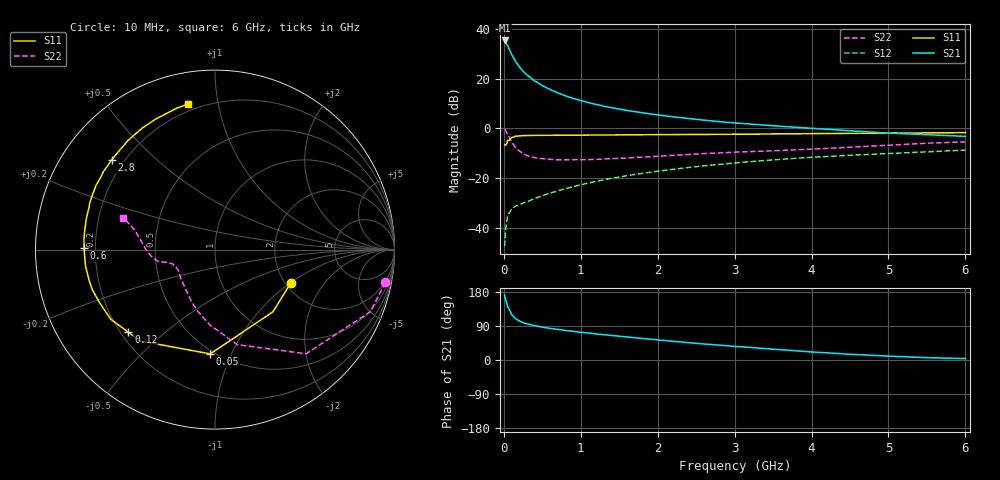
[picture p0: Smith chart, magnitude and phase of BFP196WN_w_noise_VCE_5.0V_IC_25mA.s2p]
! (c) 2017  Infineon Technologies AG, Munich
! Infineon Technologies  Discrete & RF Semiconductors
! BFP196WN
! VCE =  5.0 V,  IC =  25 mA
! Common Emitter S-Parameters:  Jan 2017
# GHz  S  MA  R  50
!  f  S11  S21  S12  S22
! GHz  MAG  ANG  MAG  ANG  MAG  ANG  MAG  ANG
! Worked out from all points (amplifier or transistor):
!   77 points, 10 MHz to 6 GHz, reference 50 ohm
!   highest |S21| = 35.2 dB at 10 MHz (marker M1)
!   |S21| within 3 dB of that: start of sweep to 63.5 MHz
!   unconditionally stable (mu >= 1): 830.2 MHz to 2.676 GHz
!   at 130 MHz: K = 0.37, MSG = 29.8 dB, |S12| = -31.6 dB
!   at 2.2 GHz: K = 1.03, MAG = 9.5 dB, |S12| = -16.4 dB
!   at 6 GHz: K = 0.89, MSG = 2.7 dB, |S12| = -8.6 dB
!   lowest NFmin = 1.00 dB at 450 MHz
!   S11 on the Smith chart (normalised r, x): 10 MHz: 2.15, -1.00; 50 MHz: 0.48, -0.84; 120 MHz: 0.23, -0.38; 600 MHz: 0.16, +0.01; 2.8 GHz: 0.15, +0.37; 6 GHz: 0.16, +0.82
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0.01  0.4618 -23.4  57.76 171.4  0.0044 84.1  0.9667 -10.9
0.02  0.4735 -47.0  54.57 161.6  0.0081 76.8  0.9324 -21.8
0.05  0.5816 -92.6  45.31 140.0  0.0178 57.4  0.7712 -48.8
0.1  0.6578 -129.3  30.48 119.8  0.0243 46.1  0.5445 -76.7
0.12  0.6669 -136.3  27.08 116.4  0.0257 44.4  0.4897 -82.6
0.15  0.6984 -146.2  22.24 109.4  0.0279 42.1  0.4201 -94.0
0.2  0.7085 -155.6  17.2 103.1  0.0293 42.6  0.3542 -106.3
0.25  0.719 -161.9  14 98.7  0.0321 43.4  0.3159 -114.9
0.3  0.7218 -166.5  11.8 95.4  0.0341 44.7  0.2871 -122.3
0.4  0.7272 -172.7  8.952 90.4  0.0394 50.1  0.2607 -132.4
0.5  0.7275 -177.3  7.188 86.7  0.0451 53.3  0.2488 -139.9
0.6  0.729 179.4  6.012 83.5  0.0508 55.6  0.2412 -145.3
0.7  0.7317 176.4  5.149 80.8  0.0562 58.8  0.2361 -148.8
0.8  0.733 173.7  4.513 78.0  0.0624 60.0  0.2353 -151.5
1.1  0.7371 167.1  3.293 71.1  0.0809 62.5  0.2383 -157.4
1.5  0.7442 159.8  2.436 62.8  0.1066 63.0  0.2519 -162.0
2.1  0.7528 149.9  1.789 51.3  0.1456 61.6  0.2836 -165.5
2.8  0.7629 139.1  1.371 39.2  0.1908 57.9  0.3228 -168.2
3.1  0.7663 134.4  1.258 34.6  0.21 55.5  0.3397 -170.9
4.1  0.79 119.8  0.985 20.1  0.2696 48.0  0.3923 178.1
5.1  0.8071 108.7  0.795 9.4  0.3196 40.6  0.4702 165.5
6  0.8248 100.7  0.694 3.8  0.3696 34.6  0.539 161.2
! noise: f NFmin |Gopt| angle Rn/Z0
0.45  1  0.43  174  0.05
0.9  1.15  0.51  182  0.05
1.9  2.08  0.68  210  0.13
2.4  2.83  0.69  217  0.23
